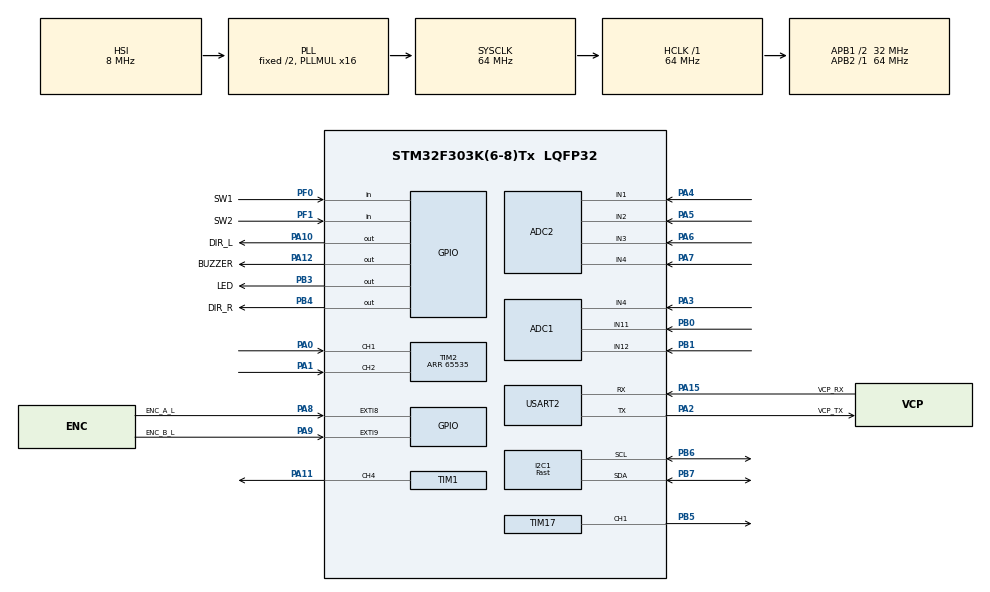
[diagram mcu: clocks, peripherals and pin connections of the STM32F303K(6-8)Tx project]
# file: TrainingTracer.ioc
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ADC1.Channel-3\#ChannelRegularConversion=ADC_CHANNEL_4
ADC1.Channel-4\#ChannelRegularConversion=ADC_CHANNEL_11
ADC1.Channel-5\#ChannelRegularConversion=ADC_CHANNEL_12
ADC1.ContinuousConvMode=DISABLE
ADC1.DMAContinuousRequests=ENABLE
ADC1.DiscontinuousConvMode=ENABLE
ADC1.ExternalTrigConv=ADC_EXTERNALTRIGCONV_T3_TRGO
ADC1.NbrOfConversion=3
ADC1.NbrOfConversionFlag=1
ADC1.NbrOfDiscConversion=3
ADC1.Offset-3\#ChannelRegularConversion=0
ADC1.Offset-4\#ChannelRegularConversion=0
ADC1.Offset-5\#ChannelRegularConversion=0
ADC1.OffsetNumber-3\#ChannelRegularConversion=ADC_OFFSET_NONE
ADC1.OffsetNumber-4\#ChannelRegularConversion=ADC_OFFSET_NONE
ADC1.OffsetNumber-5\#ChannelRegularConversion=ADC_OFFSET_NONE
ADC1.Rank-3\#ChannelRegularConversion=1
ADC1.Rank-4\#ChannelRegularConversion=2
ADC1.Rank-5\#ChannelRegularConversion=3
ADC1.SamplingTime-3\#ChannelRegularConversion=ADC_SAMPLETIME_4CYCLES_5
ADC1.SamplingTime-4\#ChannelRegularConversion=ADC_SAMPLETIME_4CYCLES_5
ADC1.SamplingTime-5\#ChannelRegularConversion=ADC_SAMPLETIME_4CYCLES_5
ADC1.SubFamily=STM32F303x8
ADC1.master=1
ADC2.Channel-3\#ChannelRegularConversion=ADC_CHANNEL_1
ADC2.Channel-4\#ChannelRegularConversion=ADC_CHANNEL_2
ADC2.Channel-5\#ChannelRegularConversion=ADC_CHANNEL_3
ADC2.Channel-6\#ChannelRegularConversion=ADC_CHANNEL_4
ADC2.ContinuousConvMode=DISABLE
ADC2.DMAContinuousRequests=ENABLE
ADC2.DiscontinuousConvMode=ENABLE
ADC2.ExternalTrigConv=ADC_EXTERNALTRIGCONV_T3_TRGO
ADC2.NbrOfConversion=4
ADC2.NbrOfConversionFlag=1
ADC2.NbrOfDiscConversion=4
ADC2.Offset-3\#ChannelRegularConversion=0
ADC2.Offset-4\#ChannelRegularConversion=0
ADC2.Offset-5\#ChannelRegularConversion=0
ADC2.Offset-6\#ChannelRegularConversion=0
ADC2.OffsetNumber-3\#ChannelRegularConversion=ADC_OFFSET_NONE
ADC2.OffsetNumber-4\#ChannelRegularConversion=ADC_OFFSET_NONE
ADC2.OffsetNumber-5\#ChannelRegularConversion=ADC_OFFSET_NONE
ADC2.OffsetNumber-6\#ChannelRegularConversion=ADC_OFFSET_NONE
ADC2.Rank-3\#ChannelRegularConversion=1
ADC2.Rank-4\#ChannelRegularConversion=2
ADC2.Rank-5\#ChannelRegularConversion=3
ADC2.Rank-6\#ChannelRegularConversion=4
ADC2.SamplingTime-3\#ChannelRegularConversion=ADC_SAMPLETIME_4CYCLES_5
ADC2.SamplingTime-4\#ChannelRegularConversion=ADC_SAMPLETIME_4CYCLES_5
ADC2.SamplingTime-5\#ChannelRegularConversion=ADC_SAMPLETIME_4CYCLES_5
ADC2.SamplingTime-6\#ChannelRegularConversion=ADC_SAMPLETIME_4CYCLES_5
ADC2.SubFamily=STM32F303x8
Dma.ADC1.0.Direction=DMA_PERIPH_TO_MEMORY
Dma.ADC1.0.Instance=DMA1_Channel1
Dma.ADC1.0.MemDataAlignment=DMA_MDATAALIGN_HALFWORD
Dma.ADC1.0.MemInc=DMA_MINC_ENABLE
Dma.ADC1.0.Mode=DMA_CIRCULAR
Dma.ADC1.0.PeriphDataAlignment=DMA_PDATAALIGN_HALFWORD
Dma.ADC1.0.PeriphInc=DMA_PINC_DISABLE
Dma.ADC1.0.Priority=DMA_PRIORITY_LOW
Dma.ADC2.1.Direction=DMA_PERIPH_TO_MEMORY
Dma.ADC2.1.Instance=DMA1_Channel2
Dma.ADC2.1.MemDataAlignment=DMA_MDATAALIGN_HALFWORD
Dma.ADC2.1.MemInc=DMA_MINC_ENABLE
Dma.ADC2.1.Mode=DMA_CIRCULAR
Dma.ADC2.1.PeriphDataAlignment=DMA_PDATAALIGN_HALFWORD
Dma.ADC2.1.PeriphInc=DMA_PINC_DISABLE
Dma.ADC2.1.Priority=DMA_PRIORITY_LOW
Dma.I2C1_RX.2.Direction=DMA_PERIPH_TO_MEMORY
Dma.I2C1_RX.2.Instance=DMA1_Channel3
Dma.I2C1_RX.2.MemDataAlignment=DMA_MDATAALIGN_BYTE
Dma.I2C1_RX.2.MemInc=DMA_MINC_ENABLE
Dma.I2C1_RX.2.Mode=DMA_NORMAL
Dma.I2C1_RX.2.PeriphDataAlignment=DMA_PDATAALIGN_BYTE
Dma.I2C1_RX.2.PeriphInc=DMA_PINC_DISABLE
Dma.I2C1_RX.2.Priority=DMA_PRIORITY_LOW
Dma.I2C1_TX.3.Direction=DMA_MEMORY_TO_PERIPH
Dma.I2C1_TX.3.Instance=DMA1_Channel4
Dma.I2C1_TX.3.MemDataAlignment=DMA_MDATAALIGN_BYTE
Dma.I2C1_TX.3.MemInc=DMA_MINC_ENABLE
Dma.I2C1_TX.3.Mode=DMA_NORMAL
Dma.I2C1_TX.3.PeriphDataAlignment=DMA_PDATAALIGN_BYTE
Dma.I2C1_TX.3.PeriphInc=DMA_PINC_DISABLE
Dma.I2C1_TX.3.Priority=DMA_PRIORITY_LOW
Dma.Request0=ADC1
Dma.Request1=ADC2
Dma.Request2=I2C1_RX
Dma.Request3=I2C1_TX
I2C1.Analog_Filter=I2C_ANALOGFILTER_ENABLE
I2C1.I2C_Speed_Mode=I2C_Fast
I2C1.Speed=400
I2C1.Timing=0x0000020B
Mcu.Family=STM32F3
Mcu.Name=STM32F303K(6-8)Tx
Mcu.Package=LQFP32
NVIC.DMA1_Channel1_IRQn=true\:0\:0\:false\:false\:true\:false\:true
NVIC.DMA1_Channel2_IRQn=true\:0\:0\:false\:false\:true\:false\:true
NVIC.DMA1_Channel3_IRQn=true\:0\:0\:false\:false\:true\:false\:true
NVIC.DMA1_Channel4_IRQn=true\:0\:0\:false\:false\:true\:false\:true
NVIC.EXTI9_5_IRQn=true\:0\:0\:false\:false\:true\:true\:true
NVIC.I2C1_EV_IRQn=true\:0\:0\:false\:false\:true\:true\:true
NVIC.PriorityGroup=NVIC_PRIORITYGROUP_4
NVIC.TIM6_DAC1_IRQn=true\:0\:0\:false\:false\:true\:true\:true
NVIC.TIM7_DAC2_IRQn=true\:0\:0\:false\:false\:true\:true\:true
PA0.Signal=S_TIM2_CH1_ETR
PA1.Signal=S_TIM2_CH2
PA10.GPIO_Label=DIR_L
PA10.Signal=GPIO_Output
PA11.Signal=S_TIM1_CH4
PA12.GPIO_Label=BUZZER
PA12.Signal=GPIO_Output
PA13.GPIO_Label=SWDIO
PA13.Mode=Serial_Wire
PA13.Signal=SYS_JTMS-SWDIO
PA14.GPIO_Label=SWCLK
PA14.Mode=Serial_Wire
PA14.Signal=SYS_JTCK-SWCLK
PA15.GPIO_Label=VCP_RX
PA15.Mode=Asynchronous
PA15.Signal=USART2_RX
PA2.GPIO_Label=VCP_TX
PA2.Mode=Asynchronous
PA2.Signal=USART2_TX
PA3.Mode=IN4-Single-Ended
PA3.Signal=ADC1_IN4
PA4.Mode=IN1-Single-Ended
PA4.Signal=ADC2_IN1
PA5.Mode=IN2-Single-Ended
PA5.Signal=ADC2_IN2
PA6.Mode=IN3-Single-Ended
PA6.Signal=ADC2_IN3
PA7.Mode=IN4-Single-Ended
PA7.Signal=ADC2_IN4
PA8.GPIO_Label=ENC_A_L
PA8.GPIO_ModeDefaultEXTI=GPIO_MODE_IT_RISING_FALLING
PA8.Signal=GPXTI8
PA9.GPIO_Label=ENC_B_L
PA9.GPIO_ModeDefaultEXTI=GPIO_MODE_IT_RISING_FALLING
PA9.Signal=GPXTI9
PB0.Mode=IN11-Single-Ended
PB0.Signal=ADC1_IN11
PB1.Mode=IN12-Single-Ended
PB1.Signal=ADC1_IN12
PB3.GPIO_Label=LED
PB3.Signal=GPIO_Output
PB4.GPIO_Label=DIR_R
PB4.Signal=GPIO_Output
PB5.Signal=S_TIM17_CH1
PB6.GPIO_PuPdOD=GPIO_PULLUP
PB6.Mode=I2C
PB6.Signal=I2C1_SCL
PB7.GPIO_PuPdOD=GPIO_PULLUP
PB7.Mode=I2C
PB7.Signal=I2C1_SDA
PF0\ /\ OSC_IN.GPIO_Label=SW1
PF0\ /\ OSC_IN.GPIO_PuPd=GPIO_PULLUP
PF0\ /\ OSC_IN.Signal=GPIO_Input
PF1\ /\ OSC_OUT.GPIO_Label=SW2
PF1\ /\ OSC_OUT.GPIO_PuPd=GPIO_PULLUP
PF1\ /\ OSC_OUT.Signal=GPIO_Input
ProjectManager.HeapSize=0x200
ProjectManager.StackSize=0x400
ProjectManager.TargetToolchain=STM32CubeIDE
RCC.AHBFreq_Value=64000000
RCC.APB1CLKDivider=RCC_HCLK_DIV2
RCC.APB1Freq_Value=32000000
RCC.APB1TimFreq_Value=64000000
RCC.APB2Freq_Value=64000000
RCC.APB2TimFreq_Value=64000000
RCC.CortexFreq_Value=64000000
RCC.HCLKFreq_Value=64000000
RCC.HSE_VALUE=8000000
RCC.HSI_VALUE=8000000
RCC.PLLMUL=RCC_PLL_MUL16
RCC.SYSCLKFreq_VALUE=64000000
RCC.SYSCLKSourceVirtual=RCC_SYSCLKSOURCE_PLLCLK
SH.S_TIM17_CH1.0=TIM17_CH1,PWM Generation1 CH1
SH.S_TIM1_CH4.0=TIM1_CH4,PWM Generation4 CH4
SH.S_TIM2_CH1_ETR.0=TIM2_CH1,Encoder_Interface
SH.S_TIM2_CH2.0=TIM2_CH2,Encoder_Interface
TIM1.AutoReloadPreload=TIM_AUTORELOAD_PRELOAD_ENABLE
TIM1.Channel-PWM\ Generation4\ CH4=TIM_CHANNEL_4
TIM1.Period=3199
TIM1.Prescaler=0
TIM1.Pulse-PWM\ Generation4\ CH4=599
TIM17.AutoReloadPreload=TIM_AUTORELOAD_PRELOAD_ENABLE
TIM17.Channel=TIM_CHANNEL_1
TIM17.Period=3199
TIM17.Prescaler=0
TIM17.Pulse=599
TIM2.AutoReloadPreload=TIM_AUTORELOAD_PRELOAD_ENABLE
TIM2.EncoderMode=TIM_ENCODERMODE_TI12
TIM2.Period=65535
TIM3.AutoReloadPreload=TIM_AUTORELOAD_PRELOAD_ENABLE
TIM3.Period=999
TIM3.Prescaler=63
TIM3.TIM_MasterOutputTrigger=TIM_TRGO_UPDATE
TIM6.AutoReloadPreload=TIM_AUTORELOAD_PRELOAD_ENABLE
TIM6.Period=499
TIM6.Prescaler=63
TIM7.AutoReloadPreload=TIM_AUTORELOAD_PRELOAD_ENABLE
TIM7.Period=9999
TIM7.Prescaler=63
USART2.VirtualMode-Asynchronous=VM_ASYNC
VP_TIM17_VS_ClockSourceINT.Mode=Enable_Timer
VP_TIM3_VS_ClockSourceINT.Mode=Internal
VP_TIM6_VS_ClockSourceINT.Mode=Enable_Timer
VP_TIM7_VS_ClockSourceINT.Mode=Enable_Timer
board=NUCLEO-F303K8

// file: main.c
/* USER CODE BEGIN Header */
/**
  ******************************************************************************
  * @file           : main.c
  * @brief          : Main program body
  ******************************************************************************
  * @attention
  *
  * Copyright (c) 2020 RT Corporation
  * License: Apache License, Version 2.0
  * https://www.apache.org/licenses/LICENSE-2.0
  *
  * This file is licensed the Apache License, Version 2.0.
  * This file is based on the auto generated template .c file
  * released by STMicroelectronics licensed under the BSD 3-Clause License.
  *
  *=*=*=*=*=*=*=*=*=*=*=*=*=*=*=*=*=*=*=*=*=*=*=*=*=*=*=*=*=*=*=*=*=*=*=*=*=*=*
  * <h2><center>&copy; Copyright (c) 2020 STMicroelectronics.
  * All rights reserved.</center></h2>
  *
  * This software component is licensed by ST under BSD 3-Clause license,
  * the "License"; You may not use this file except in compliance with the
  * License. You may obtain a copy of the License at:
  *                        opensource.org/licenses/BSD-3-Clause
  *=*=*=*=*=*=*=*=*=*=*=*=*=*=*=*=*=*=*=*=*=*=*=*=*=*=*=*=*=*=*=*=*=*=*=*=*=*=*
  *
  ******************************************************************************
  */
/* USER CODE END Header */

#include "main.h"

/* USER CODE BEGIN Includes */
#include "stdio.h"
#include "BMX055.h"
#include "stdlib.h"
/* USER CODE END Includes */

ADC_HandleTypeDef hadc1;
ADC_HandleTypeDef hadc2;
DMA_HandleTypeDef hdma_adc1;
DMA_HandleTypeDef hdma_adc2;

I2C_HandleTypeDef hi2c1;
DMA_HandleTypeDef hdma_i2c1_rx;
DMA_HandleTypeDef hdma_i2c1_tx;

TIM_HandleTypeDef htim1;
TIM_HandleTypeDef htim2;
TIM_HandleTypeDef htim3;
TIM_HandleTypeDef htim6;
TIM_HandleTypeDef htim7;
TIM_HandleTypeDef htim17;

UART_HandleTypeDef huart2;

void SystemClock_Config(void);
static void MX_GPIO_Init(void);
static void MX_DMA_Init(void);
static void MX_USART2_UART_Init(void);
static void MX_I2C1_Init(void);
static void MX_TIM1_Init(void);
static void MX_TIM2_Init(void);
static void MX_TIM17_Init(void);
static void MX_ADC1_Init(void);
static void MX_ADC2_Init(void);
static void MX_TIM3_Init(void);
static void MX_TIM6_Init(void);
static void MX_TIM7_Init(void);

/* USER CODE BEGIN 0 */
// 変数宣言
long  Line_Controll;
short inside_offset = 0;
short outside_offset = 0;
short L2_Value = 0;
short L1_Value = 0;
short R1_Value = 0;
short R2_Value = 0;
short ML_Value = 0;
short MR_Value = 0;
short PW_Value = 0;

char line_State = 0;
unsigned short Encoder_R_CNT = 0;
unsigned short Encoder_L_CNT = 0;

char CW_R = 0 ;
char CCW_R = 1 ;
char CW_L = 1 ;
char CCW_L = 0 ;
short PWM_R_Value = 0;
short PWM_L_Value = 0;

unsigned char I2C_state=0;
short ADC1_DATA[10];
short ADC2_DATA[10];
short zGyro=0;
float theta=0;

short BUZZER_IT_CNT;
short BUZZER_IT_H_MS_CNT;
short BUZZER_IT_L_MS_CNT;
short BUZZER_IT_H_MS;
short BUZZER_IT_L_MS;

int __io_putchar(int ch){
	HAL_UART_Transmit(&huart2, (uint8_t *)&ch, 1, 0xFFFF);
	  return ch;
}

void LED_DRIVE(char times, int high_ms, int low_ms) {
	  for (char i = 0; i < times; i++) {
		HAL_GPIO_WritePin(LED_GPIO_Port,LED_Pin,1);
	    HAL_Delay(high_ms);
		HAL_GPIO_WritePin(LED_GPIO_Port,LED_Pin,0);
	    HAL_Delay(low_ms);
	  }
}

void BUZZER_DRIVE(char times, int high_ms, int low_ms) {
  for (char i = 0; i < times; i++) {
	HAL_GPIO_WritePin(BUZZER_GPIO_Port,BUZZER_Pin, 1);   // ブザー鳴らす
    HAL_Delay(100);                       // 指定時間待ち
    HAL_GPIO_WritePin(BUZZER_GPIO_Port,BUZZER_Pin, 0);    // ブザー止める
    HAL_Delay(100);                       // 指定時間待ち
  }
}

void BUZZER_DRIVE_IT(char times, int high_ms, int low_ms) {
	BUZZER_IT_CNT = times;
	BUZZER_IT_H_MS = high_ms;
	BUZZER_IT_L_MS = low_ms;
	BUZZER_IT_H_MS_CNT=0;
	BUZZER_IT_L_MS_CNT=0;
}

int MarkerCheck(void) {
  if ((MR_Value > (R2_Value*0.169+2.7488+30))  && (MR_Value > 90)) { //マーカーセンサアクティブ
    if (line_State == 0) {
      line_State = 1;
      return 1;
    } else if (line_State == 1) {
      line_State = 2;
      return 2;
    } else if (line_State == 3) {
      line_State = 7;
      return 7;
    } else if (line_State == 4) {
      line_State = 6;
      return 6;
    } else if (line_State == 5) {
      line_State = 6;
      return 6;
    } else if(line_State == 6){
      line_State = 6;
      return 6;
    }
  }

  if (line_State == 1) {
    line_State = 3;
    return 3;
  }

  if (line_State == 2) {
    line_State = 3;
    return 3;
  }

  if (line_State == 6) {
    line_State = 3;
    return 3;
  }

  if (line_State == 3) {
    if ((R2_Value + R1_Value + L1_Value + L2_Value) > 2500) { //クロスライン
      line_State = 4; //クロスラインを検出
      HAL_GPIO_WritePin(LED_GPIO_Port,LED_Pin,1);
      return 4;
    }
  }
  if (line_State == 4) {
    if ((R2_Value + R1_Value + L1_Value + L2_Value) < 2000) {
      line_State = 5;
      HAL_GPIO_WritePin(LED_GPIO_Port,LED_Pin,0);
      return 5;
    }
  }

  return line_State;
}

void HAL_GPIO_EXTI_Callback(uint16_t GPIO_Pin){
	if(GPIO_Pin==GPIO_PIN_8){
		if(HAL_GPIO_ReadPin(ENC_A_L_GPIO_Port,ENC_A_L_Pin)==1){
			if(HAL_GPIO_ReadPin(ENC_B_L_GPIO_Port,ENC_A_L_Pin)==1){
				Encoder_L_CNT++;
			}else{
				Encoder_L_CNT--;
			}
		}else{
			if(HAL_GPIO_ReadPin(ENC_B_L_GPIO_Port,ENC_A_L_Pin)==0){
				Encoder_L_CNT++;
			}else{
				Encoder_L_CNT--;
			}
		}
	}
	if(GPIO_Pin==GPIO_PIN_9){
		if(HAL_GPIO_ReadPin(ENC_B_L_GPIO_Port,ENC_B_L_Pin)==1){
			if(HAL_GPIO_ReadPin(ENC_A_L_GPIO_Port,ENC_A_L_Pin)==0){
				Encoder_L_CNT++;
			}else{
				Encoder_L_CNT--;
			}
		}else{
			if(HAL_GPIO_ReadPin(ENC_A_L_GPIO_Port,ENC_A_L_Pin)==1){
				Encoder_L_CNT++;
			}else{
				Encoder_L_CNT--;
			}
		}
	}
}

void HAL_TIM_PeriodElapsedCallback(TIM_HandleTypeDef *htim){
	if(htim == &htim6){//2kHz
		if((I2C_state%2)==0){
			zGyro=I2C1_BMX055_GetGyro16();
			theta = theta + (float)zGyro/1000.0/16.4;
			I2C1_BMX055_zGyro();
		}else{
			I2C1_Read_NBytes(BMX055_Addr_Gyro,2);
//ブザーの処理
			if(BUZZER_IT_CNT > 0){
				if(BUZZER_IT_H_MS_CNT < BUZZER_IT_H_MS){
					HAL_GPIO_WritePin(BUZZER_GPIO_Port,BUZZER_Pin, 1);
					BUZZER_IT_H_MS_CNT++;
				}else if(BUZZER_IT_L_MS_CNT < BUZZER_IT_L_MS){
					HAL_GPIO_WritePin(BUZZER_GPIO_Port,BUZZER_Pin, 0);
					BUZZER_IT_L_MS_CNT++;
				}else{
					BUZZER_IT_H_MS_CNT=0;
					BUZZER_IT_L_MS_CNT=0;
					BUZZER_IT_CNT--;
				}
			}

		}
		I2C_state++;
	}
	if(htim == &htim7){//100Hz
//PA3 ADC1_IN4  LR2
//PA4 ADC2_IN1  LR1
//PA5 ADC2_IN2  LL1
//PA6 ADC2_IN3  LL2
//PA7 ADC2_IN4  POWER
//PB0 ADC1_IN11 マーカーR
//PB1 ADC1_IN12 マーカーL
		R2_Value = ADC1_DATA[0];
		MR_Value = ADC1_DATA[1];
		ML_Value = ADC1_DATA[2];
		R1_Value = ADC2_DATA[0];
		L1_Value = ADC2_DATA[1];
		L2_Value = ADC2_DATA[2];
		PW_Value = ADC2_DATA[3];

		MarkerCheck();
		if(line_State == 1){
//			BUZZER_DRIVE_IT(1,50,50);
		}else if(line_State == 7){
//			BUZZER_DRIVE_IT(2,50,50);
//			RUN_STOP();
		}
		  Line_Controll = (L1_Value - R1_Value - inside_offset) + 2 * (L2_Value - R2_Value - outside_offset);

		  PWM_L_Value = 800 -  Line_Controll / 40;
		  PWM_R_Value = 800 +  Line_Controll / 40;

		  //左モーターPWM出力
		  if (PWM_L_Value < 0) {
			  HAL_GPIO_WritePin(DIR_L_GPIO_Port,DIR_L_Pin,CCW_L);//CCW
		  } else {
			  HAL_GPIO_WritePin(DIR_L_GPIO_Port,DIR_L_Pin,CW_L);//CW
		  }
		  PWM_L_Value = abs(PWM_L_Value);
		  if (PWM_L_Value > 3199) {
		    PWM_L_Value = 3199; //モーター制御値上下ガード処理
		  }
		  if (PWM_L_Value <= 0) {
		    PWM_L_Value = 0; //モーター制御値上下ガード処理
		  }
		  TIM1->CCR4 = PWM_L_Value;

		  //右モーターPWM出力
		  if (PWM_R_Value < 0) {
			  HAL_GPIO_WritePin(DIR_R_GPIO_Port,DIR_R_Pin,CCW_R);//CCW
		  } else {
			  HAL_GPIO_WritePin(DIR_R_GPIO_Port,DIR_R_Pin,CW_R);//CW
		  }
		  PWM_R_Value = abs(PWM_R_Value);
		  if (PWM_R_Value > 3199) {
		    PWM_R_Value = 3199; //モーター制御値上下ガード処理
		  }
		  if (PWM_R_Value <= 0) {
		    PWM_R_Value = 0; //モーター制御値上下ガード処理
		  }
		  TIM17->CCR1 = PWM_R_Value;
	}
}

/* USER CODE END 0 */

int main(void)
{

  /* MCU Configuration--------------------------------------------------------*/

  /* Reset of all peripherals, Initializes the Flash interface and the Systick. */
  HAL_Init();

  /* Configure the system clock */
  SystemClock_Config();

  /* Initialize all configured peripherals */
  MX_GPIO_Init();
  MX_DMA_Init();
  MX_USART2_UART_Init();
  MX_I2C1_Init();
  MX_TIM1_Init();
  MX_TIM2_Init();
  MX_TIM17_Init();
  MX_ADC1_Init();
  MX_ADC2_Init();
  MX_TIM3_Init();
  MX_TIM6_Init();
  MX_TIM7_Init();
  /* USER CODE BEGIN 2 */

//ADC開始
  HAL_ADC_Start_DMA(&hadc1,(uint32_t *)ADC1_DATA,3);
  HAL_ADC_Start_DMA(&hadc2,(uint32_t *)ADC2_DATA,4);
  HAL_TIM_Base_Start(&htim3);//1kHz
//Encoder開始
//  HAL_TIM_Encoder_Start(&htim1,TIM_CHANNEL_ALL);
  HAL_TIM_Encoder_Start(&htim2,TIM_CHANNEL_ALL);

//BMX055
  I2C1_BMX055_Init();
  HAL_TIM_Base_Start_IT(&htim6);//2kHz

//PWM
  HAL_GPIO_WritePin(DIR_R_GPIO_Port,DIR_R_Pin,CW_R);//CW
  HAL_GPIO_WritePin(DIR_L_GPIO_Port,DIR_L_Pin,CW_L);//CW

  TIM1->CCR4 = 0;//PWM duty 0%
  TIM17->CCR1 = 0;//PWM duty 0%
  HAL_TIM_PWM_Start(&htim1,TIM_CHANNEL_4);//左
  HAL_TIM_PWM_Start(&htim17,TIM_CHANNEL_1);//右

 //変数の初期化
  BUZZER_IT_CNT=0;
  Encoder_L_CNT=0;
  TIM2->CNT=0;

    LED_DRIVE(2, 100, 100);

    int i=0;

    while(1){
    	if(HAL_GPIO_ReadPin(SW2_GPIO_Port,SW2_Pin)==0){
    		BUZZER_DRIVE_IT(1,100,100);
    		while(1){
    			  printf("%d Hello World!!\r\n",i++);
    			  printf("ADC1 %d %d %d\n\r",ADC1_DATA[0],ADC1_DATA[1],ADC1_DATA[2]);
    			  printf("ADC2 %d %d %d %d\n\r",ADC2_DATA[0],ADC2_DATA[1],ADC2_DATA[2],ADC2_DATA[3]);
    			  printf("Encoder %d %ld\n\r",Encoder_L_CNT,TIM2->CNT);//左、右
    			  printf("theta=%d %d\n\r",(int)(theta*100),zGyro);
    			  HAL_Delay(300);
    			  if(HAL_GPIO_ReadPin(SW2_GPIO_Port,SW2_Pin)==0){
    				  HAL_Delay(200);
    				  break;
    			  }
    		}
    	}
    	if(HAL_GPIO_ReadPin(SW1_GPIO_Port,SW1_Pin)==0){
    		BUZZER_DRIVE(2,70,70);
    		//制御周期の割り込み
    		HAL_TIM_Base_Start_IT(&htim7);//100Hz
    		break;
    	}
    }
  /* USER CODE END 2 */

  /* Infinite loop */
  /* USER CODE BEGIN WHILE */
  while (1)
  {
//	  HAL_GPIO_TogglePin(LED_GPIO_Port,LED_Pin);
    /* USER CODE END WHILE */

  }
}

void SystemClock_Config(void)
{
  RCC_OscInitTypeDef RCC_OscInitStruct = {0};
  RCC_ClkInitTypeDef RCC_ClkInitStruct = {0};
  RCC_PeriphCLKInitTypeDef PeriphClkInit = {0};

  /** Initializes the CPU, AHB and APB busses clocks
  */
  RCC_OscInitStruct.OscillatorType = RCC_OSCILLATORTYPE_HSI;
  RCC_OscInitStruct.HSIState = RCC_HSI_ON;
  RCC_OscInitStruct.HSICalibrationValue = RCC_HSICALIBRATION_DEFAULT;
  RCC_OscInitStruct.PLL.PLLState = RCC_PLL_ON;
  RCC_OscInitStruct.PLL.PLLSource = RCC_PLLSOURCE_HSI;
  RCC_OscInitStruct.PLL.PLLMUL = RCC_PLL_MUL16;
  if (HAL_RCC_OscConfig(&RCC_OscInitStruct) != HAL_OK)
  {
    Error_Handler();
  }
  /** Initializes the CPU, AHB and APB busses clocks
  */
  RCC_ClkInitStruct.ClockType = RCC_CLOCKTYPE_HCLK|RCC_CLOCKTYPE_SYSCLK
                              |RCC_CLOCKTYPE_PCLK1|RCC_CLOCKTYPE_PCLK2;
  RCC_ClkInitStruct.SYSCLKSource = RCC_SYSCLKSOURCE_PLLCLK;
  RCC_ClkInitStruct.AHBCLKDivider = RCC_SYSCLK_DIV1;
  RCC_ClkInitStruct.APB1CLKDivider = RCC_HCLK_DIV2;
  RCC_ClkInitStruct.APB2CLKDivider = RCC_HCLK_DIV1;

  if (HAL_RCC_ClockConfig(&RCC_ClkInitStruct, FLASH_LATENCY_2) != HAL_OK)
  {
    Error_Handler();
  }
  PeriphClkInit.PeriphClockSelection = RCC_PERIPHCLK_I2C1|RCC_PERIPHCLK_TIM1
                              |RCC_PERIPHCLK_ADC12;
  PeriphClkInit.Adc12ClockSelection = RCC_ADC12PLLCLK_DIV1;
  PeriphClkInit.I2c1ClockSelection = RCC_I2C1CLKSOURCE_HSI;
  PeriphClkInit.Tim1ClockSelection = RCC_TIM1CLK_HCLK;
  if (HAL_RCCEx_PeriphCLKConfig(&PeriphClkInit) != HAL_OK)
  {
    Error_Handler();
  }
}

static void MX_ADC1_Init(void)
{

  ADC_MultiModeTypeDef multimode = {0};
  ADC_ChannelConfTypeDef sConfig = {0};

  /** Common config
  */
  hadc1.Instance = ADC1;
  hadc1.Init.ClockPrescaler = ADC_CLOCK_ASYNC_DIV1;
  hadc1.Init.Resolution = ADC_RESOLUTION_12B;
  hadc1.Init.ScanConvMode = ADC_SCAN_ENABLE;
  hadc1.Init.ContinuousConvMode = DISABLE;
  hadc1.Init.DiscontinuousConvMode = ENABLE;
  hadc1.Init.NbrOfDiscConversion = 3;
  hadc1.Init.ExternalTrigConvEdge = ADC_EXTERNALTRIGCONVEDGE_RISING;
  hadc1.Init.ExternalTrigConv = ADC_EXTERNALTRIGCONV_T3_TRGO;
  hadc1.Init.DataAlign = ADC_DATAALIGN_RIGHT;
  hadc1.Init.NbrOfConversion = 3;
  hadc1.Init.DMAContinuousRequests = ENABLE;
  hadc1.Init.EOCSelection = ADC_EOC_SINGLE_CONV;
  hadc1.Init.LowPowerAutoWait = DISABLE;
  hadc1.Init.Overrun = ADC_OVR_DATA_OVERWRITTEN;
  if (HAL_ADC_Init(&hadc1) != HAL_OK)
  {
    Error_Handler();
  }
  /** Configure the ADC multi-mode
  */
  multimode.Mode = ADC_MODE_INDEPENDENT;
  if (HAL_ADCEx_MultiModeConfigChannel(&hadc1, &multimode) != HAL_OK)
  {
    Error_Handler();
  }
  /** Configure Regular Channel
  */
  sConfig.Channel = ADC_CHANNEL_4;
  sConfig.Rank = ADC_REGULAR_RANK_1;
  sConfig.SingleDiff = ADC_SINGLE_ENDED;
  sConfig.SamplingTime = ADC_SAMPLETIME_4CYCLES_5;
  sConfig.OffsetNumber = ADC_OFFSET_NONE;
  sConfig.Offset = 0;
  if (HAL_ADC_ConfigChannel(&hadc1, &sConfig) != HAL_OK)
  {
    Error_Handler();
  }
  /** Configure Regular Channel
  */
  sConfig.Channel = ADC_CHANNEL_11;
  sConfig.Rank = ADC_REGULAR_RANK_2;
  if (HAL_ADC_ConfigChannel(&hadc1, &sConfig) != HAL_OK)
  {
    Error_Handler();
  }
  /** Configure Regular Channel
  */
  sConfig.Channel = ADC_CHANNEL_12;
  sConfig.Rank = ADC_REGULAR_RANK_3;
  if (HAL_ADC_ConfigChannel(&hadc1, &sConfig) != HAL_OK)
  {
    Error_Handler();
  }

}

static void MX_ADC2_Init(void)
{

  ADC_ChannelConfTypeDef sConfig = {0};

  /** Common config
  */
  hadc2.Instance = ADC2;
  hadc2.Init.ClockPrescaler = ADC_CLOCK_ASYNC_DIV1;
  hadc2.Init.Resolution = ADC_RESOLUTION_12B;
  hadc2.Init.ScanConvMode = ADC_SCAN_ENABLE;
  hadc2.Init.ContinuousConvMode = DISABLE;
  hadc2.Init.DiscontinuousConvMode = ENABLE;
  hadc2.Init.NbrOfDiscConversion = 4;
  hadc2.Init.ExternalTrigConvEdge = ADC_EXTERNALTRIGCONVEDGE_RISING;
  hadc2.Init.ExternalTrigConv = ADC_EXTERNALTRIGCONV_T3_TRGO;
  hadc2.Init.DataAlign = ADC_DATAALIGN_RIGHT;
  hadc2.Init.NbrOfConversion = 4;
  hadc2.Init.DMAContinuousRequests = ENABLE;
  hadc2.Init.EOCSelection = ADC_EOC_SINGLE_CONV;
  hadc2.Init.LowPowerAutoWait = DISABLE;
  hadc2.Init.Overrun = ADC_OVR_DATA_OVERWRITTEN;
  if (HAL_ADC_Init(&hadc2) != HAL_OK)
  {
    Error_Handler();
  }
  /** Configure Regular Channel
  */
  sConfig.Channel = ADC_CHANNEL_1;
  sConfig.Rank = ADC_REGULAR_RANK_1;
  sConfig.SingleDiff = ADC_SINGLE_ENDED;
  sConfig.SamplingTime = ADC_SAMPLETIME_4CYCLES_5;
  sConfig.OffsetNumber = ADC_OFFSET_NONE;
  sConfig.Offset = 0;
  if (HAL_ADC_ConfigChannel(&hadc2, &sConfig) != HAL_OK)
  {
    Error_Handler();
  }
  /** Configure Regular Channel
  */
  sConfig.Channel = ADC_CHANNEL_2;
  sConfig.Rank = ADC_REGULAR_RANK_2;
  if (HAL_ADC_ConfigChannel(&hadc2, &sConfig) != HAL_OK)
  {
    Error_Handler();
  }
  /** Configure Regular Channel
  */
  sConfig.Channel = ADC_CHANNEL_3;
  sConfig.Rank = ADC_REGULAR_RANK_3;
  if (HAL_ADC_ConfigChannel(&hadc2, &sConfig) != HAL_OK)
  {
    Error_Handler();
  }
  /** Configure Regular Channel
  */
  sConfig.Channel = ADC_CHANNEL_4;
  sConfig.Rank = ADC_REGULAR_RANK_4;
  if (HAL_ADC_ConfigChannel(&hadc2, &sConfig) != HAL_OK)
  {
    Error_Handler();
  }

}

static void MX_I2C1_Init(void)
{

  hi2c1.Instance = I2C1;
  hi2c1.Init.Timing = 0x0000020B;
  hi2c1.Init.OwnAddress1 = 0;
  hi2c1.Init.AddressingMode = I2C_ADDRESSINGMODE_7BIT;
  hi2c1.Init.DualAddressMode = I2C_DUALADDRESS_DISABLE;
  hi2c1.Init.OwnAddress2 = 0;
  hi2c1.Init.OwnAddress2Masks = I2C_OA2_NOMASK;
  hi2c1.Init.GeneralCallMode = I2C_GENERALCALL_DISABLE;
  hi2c1.Init.NoStretchMode = I2C_NOSTRETCH_DISABLE;
  if (HAL_I2C_Init(&hi2c1) != HAL_OK)
  {
    Error_Handler();
  }
  /** Configure Analogue filter
  */
  if (HAL_I2CEx_ConfigAnalogFilter(&hi2c1, I2C_ANALOGFILTER_ENABLE) != HAL_OK)
  {
    Error_Handler();
  }
  /** Configure Digital filter
  */
  if (HAL_I2CEx_ConfigDigitalFilter(&hi2c1, 0) != HAL_OK)
  {
    Error_Handler();
  }

}

static void MX_TIM1_Init(void)
{

  TIM_MasterConfigTypeDef sMasterConfig = {0};
  TIM_OC_InitTypeDef sConfigOC = {0};
  TIM_BreakDeadTimeConfigTypeDef sBreakDeadTimeConfig = {0};

  htim1.Instance = TIM1;
  htim1.Init.Prescaler = 0;
  htim1.Init.CounterMode = TIM_COUNTERMODE_UP;
  htim1.Init.Period = 3199;
  htim1.Init.ClockDivision = TIM_CLOCKDIVISION_DIV1;
  htim1.Init.RepetitionCounter = 0;
  htim1.Init.AutoReloadPreload = TIM_AUTORELOAD_PRELOAD_ENABLE;
  if (HAL_TIM_PWM_Init(&htim1) != HAL_OK)
  {
    Error_Handler();
  }
  sMasterConfig.MasterOutputTrigger = TIM_TRGO_RESET;
  sMasterConfig.MasterOutputTrigger2 = TIM_TRGO2_RESET;
  sMasterConfig.MasterSlaveMode = TIM_MASTERSLAVEMODE_DISABLE;
  if (HAL_TIMEx_MasterConfigSynchronization(&htim1, &sMasterConfig) != HAL_OK)
  {
    Error_Handler();
  }
  sConfigOC.OCMode = TIM_OCMODE_PWM1;
  sConfigOC.Pulse = 599;
  sConfigOC.OCPolarity = TIM_OCPOLARITY_HIGH;
  sConfigOC.OCFastMode = TIM_OCFAST_DISABLE;
  sConfigOC.OCIdleState = TIM_OCIDLESTATE_RESET;
  sConfigOC.OCNIdleState = TIM_OCNIDLESTATE_RESET;
  if (HAL_TIM_PWM_ConfigChannel(&htim1, &sConfigOC, TIM_CHANNEL_4) != HAL_OK)
  {
    Error_Handler();
  }
  sBreakDeadTimeConfig.OffStateRunMode = TIM_OSSR_DISABLE;
  sBreakDeadTimeConfig.OffStateIDLEMode = TIM_OSSI_DISABLE;
  sBreakDeadTimeConfig.LockLevel = TIM_LOCKLEVEL_OFF;
  sBreakDeadTimeConfig.DeadTime = 0;
  sBreakDeadTimeConfig.BreakState = TIM_BREAK_DISABLE;
  sBreakDeadTimeConfig.BreakPolarity = TIM_BREAKPOLARITY_HIGH;
  sBreakDeadTimeConfig.BreakFilter = 0;
  sBreakDeadTimeConfig.Break2State = TIM_BREAK2_DISABLE;
  sBreakDeadTimeConfig.Break2Polarity = TIM_BREAK2POLARITY_HIGH;
  sBreakDeadTimeConfig.Break2Filter = 0;
  sBreakDeadTimeConfig.AutomaticOutput = TIM_AUTOMATICOUTPUT_DISABLE;
  if (HAL_TIMEx_ConfigBreakDeadTime(&htim1, &sBreakDeadTimeConfig) != HAL_OK)
  {
    Error_Handler();
  }
  HAL_TIM_MspPostInit(&htim1);

}

static void MX_TIM2_Init(void)
{

  TIM_Encoder_InitTypeDef sConfig = {0};
  TIM_MasterConfigTypeDef sMasterConfig = {0};

  htim2.Instance = TIM2;
  htim2.Init.Prescaler = 0;
  htim2.Init.CounterMode = TIM_COUNTERMODE_UP;
  htim2.Init.Period = 65535;
  htim2.Init.ClockDivision = TIM_CLOCKDIVISION_DIV1;
  htim2.Init.AutoReloadPreload = TIM_AUTORELOAD_PRELOAD_ENABLE;
  sConfig.EncoderMode = TIM_ENCODERMODE_TI12;
  sConfig.IC1Polarity = TIM_ICPOLARITY_RISING;
  sConfig.IC1Selection = TIM_ICSELECTION_DIRECTTI;
  sConfig.IC1Prescaler = TIM_ICPSC_DIV1;
  sConfig.IC1Filter = 0;
  sConfig.IC2Polarity = TIM_ICPOLARITY_RISING;
  sConfig.IC2Selection = TIM_ICSELECTION_DIRECTTI;
  sConfig.IC2Prescaler = TIM_ICPSC_DIV1;
  sConfig.IC2Filter = 0;
  if (HAL_TIM_Encoder_Init(&htim2, &sConfig) != HAL_OK)
  {
    Error_Handler();
  }
  sMasterConfig.MasterOutputTrigger = TIM_TRGO_RESET;
  sMasterConfig.MasterSlaveMode = TIM_MASTERSLAVEMODE_DISABLE;
  if (HAL_TIMEx_MasterConfigSynchronization(&htim2, &sMasterConfig) != HAL_OK)
  {
    Error_Handler();
  }

}

static void MX_TIM3_Init(void)
{

  TIM_ClockConfigTypeDef sClockSourceConfig = {0};
  TIM_MasterConfigTypeDef sMasterConfig = {0};

  htim3.Instance = TIM3;
  htim3.Init.Prescaler = 63;
  htim3.Init.CounterMode = TIM_COUNTERMODE_UP;
  htim3.Init.Period = 999;
  htim3.Init.ClockDivision = TIM_CLOCKDIVISION_DIV1;
  htim3.Init.AutoReloadPreload = TIM_AUTORELOAD_PRELOAD_ENABLE;
  if (HAL_TIM_Base_Init(&htim3) != HAL_OK)
  {
    Error_Handler();
  }
  sClockSourceConfig.ClockSource = TIM_CLOCKSOURCE_INTERNAL;
  if (HAL_TIM_ConfigClockSource(&htim3, &sClockSourceConfig) != HAL_OK)
  {
    Error_Handler();
  }
  sMasterConfig.MasterOutputTrigger = TIM_TRGO_UPDATE;
  sMasterConfig.MasterSlaveMode = TIM_MASTERSLAVEMODE_DISABLE;
  if (HAL_TIMEx_MasterConfigSynchronization(&htim3, &sMasterConfig) != HAL_OK)
  {
    Error_Handler();
  }

}

static void MX_TIM6_Init(void)
{

  TIM_MasterConfigTypeDef sMasterConfig = {0};

  htim6.Instance = TIM6;
  htim6.Init.Prescaler = 63;
  htim6.Init.CounterMode = TIM_COUNTERMODE_UP;
  htim6.Init.Period = 499;
  htim6.Init.AutoReloadPreload = TIM_AUTORELOAD_PRELOAD_ENABLE;
  if (HAL_TIM_Base_Init(&htim6) != HAL_OK)
  {
    Error_Handler();
  }
  sMasterConfig.MasterOutputTrigger = TIM_TRGO_RESET;
  sMasterConfig.MasterSlaveMode = TIM_MASTERSLAVEMODE_DISABLE;
  if (HAL_TIMEx_MasterConfigSynchronization(&htim6, &sMasterConfig) != HAL_OK)
  {
    Error_Handler();
  }

}

static void MX_TIM7_Init(void)
{

  TIM_MasterConfigTypeDef sMasterConfig = {0};

  htim7.Instance = TIM7;
  htim7.Init.Prescaler = 63;
  htim7.Init.CounterMode = TIM_COUNTERMODE_UP;
  htim7.Init.Period = 9999;
  htim7.Init.AutoReloadPreload = TIM_AUTORELOAD_PRELOAD_ENABLE;
  if (HAL_TIM_Base_Init(&htim7) != HAL_OK)
  {
    Error_Handler();
  }
  sMasterConfig.MasterOutputTrigger = TIM_TRGO_RESET;
  sMasterConfig.MasterSlaveMode = TIM_MASTERSLAVEMODE_DISABLE;
  if (HAL_TIMEx_MasterConfigSynchronization(&htim7, &sMasterConfig) != HAL_OK)
  {
    Error_Handler();
  }

}

static void MX_TIM17_Init(void)
{

  TIM_OC_InitTypeDef sConfigOC = {0};
  TIM_BreakDeadTimeConfigTypeDef sBreakDeadTimeConfig = {0};

  htim17.Instance = TIM17;
  htim17.Init.Prescaler = 0;
  htim17.Init.CounterMode = TIM_COUNTERMODE_UP;
  htim17.Init.Period = 3199;
  htim17.Init.ClockDivision = TIM_CLOCKDIVISION_DIV1;
  htim17.Init.RepetitionCounter = 0;
  htim17.Init.AutoReloadPreload = TIM_AUTORELOAD_PRELOAD_ENABLE;
  if (HAL_TIM_Base_Init(&htim17) != HAL_OK)
  {
    Error_Handler();
  }
  if (HAL_TIM_PWM_Init(&htim17) != HAL_OK)
  {
    Error_Handler();
  }
  sConfigOC.OCMode = TIM_OCMODE_PWM1;
  sConfigOC.Pulse = 599;
  sConfigOC.OCPolarity = TIM_OCPOLARITY_HIGH;
  sConfigOC.OCNPolarity = TIM_OCNPOLARITY_HIGH;
  sConfigOC.OCFastMode = TIM_OCFAST_DISABLE;
  sConfigOC.OCIdleState = TIM_OCIDLESTATE_RESET;
  sConfigOC.OCNIdleState = TIM_OCNIDLESTATE_RESET;
  if (HAL_TIM_PWM_ConfigChannel(&htim17, &sConfigOC, TIM_CHANNEL_1) != HAL_OK)
  {
    Error_Handler();
  }
  sBreakDeadTimeConfig.OffStateRunMode = TIM_OSSR_DISABLE;
  sBreakDeadTimeConfig.OffStateIDLEMode = TIM_OSSI_DISABLE;
  sBreakDeadTimeConfig.LockLevel = TIM_LOCKLEVEL_OFF;
  sBreakDeadTimeConfig.DeadTime = 0;
  sBreakDeadTimeConfig.BreakState = TIM_BREAK_DISABLE;
  sBreakDeadTimeConfig.BreakPolarity = TIM_BREAKPOLARITY_HIGH;
  sBreakDeadTimeConfig.BreakFilter = 0;
  sBreakDeadTimeConfig.AutomaticOutput = TIM_AUTOMATICOUTPUT_DISABLE;
  if (HAL_TIMEx_ConfigBreakDeadTime(&htim17, &sBreakDeadTimeConfig) != HAL_OK)
  {
    Error_Handler();
  }
  HAL_TIM_MspPostInit(&htim17);

}

static void MX_USART2_UART_Init(void)
{

  huart2.Instance = USART2;
  huart2.Init.BaudRate = 38400;
  huart2.Init.WordLength = UART_WORDLENGTH_8B;
  huart2.Init.StopBits = UART_STOPBITS_1;
  huart2.Init.Parity = UART_PARITY_NONE;
  huart2.Init.Mode = UART_MODE_TX_RX;
  huart2.Init.HwFlowCtl = UART_HWCONTROL_NONE;
  huart2.Init.OverSampling = UART_OVERSAMPLING_16;
  huart2.Init.OneBitSampling = UART_ONE_BIT_SAMPLE_DISABLE;
  huart2.AdvancedInit.AdvFeatureInit = UART_ADVFEATURE_NO_INIT;
  if (HAL_UART_Init(&huart2) != HAL_OK)
  {
    Error_Handler();
  }

}

static void MX_DMA_Init(void)
{

  /* DMA controller clock enable */
  __HAL_RCC_DMA1_CLK_ENABLE();

  /* DMA interrupt init */
  /* DMA1_Channel1_IRQn interrupt configuration */
  HAL_NVIC_SetPriority(DMA1_Channel1_IRQn, 0, 0);
  HAL_NVIC_EnableIRQ(DMA1_Channel1_IRQn);
  /* DMA1_Channel2_IRQn interrupt configuration */
  HAL_NVIC_SetPriority(DMA1_Channel2_IRQn, 0, 0);
  HAL_NVIC_EnableIRQ(DMA1_Channel2_IRQn);
  /* DMA1_Channel3_IRQn interrupt configuration */
  HAL_NVIC_SetPriority(DMA1_Channel3_IRQn, 0, 0);
  HAL_NVIC_EnableIRQ(DMA1_Channel3_IRQn);
  /* DMA1_Channel4_IRQn interrupt configuration */
  HAL_NVIC_SetPriority(DMA1_Channel4_IRQn, 0, 0);
  HAL_NVIC_EnableIRQ(DMA1_Channel4_IRQn);

}

static void MX_GPIO_Init(void)
{
  GPIO_InitTypeDef GPIO_InitStruct = {0};

  /* GPIO Ports Clock Enable */
  __HAL_RCC_GPIOF_CLK_ENABLE();
  __HAL_RCC_GPIOA_CLK_ENABLE();
  __HAL_RCC_GPIOB_CLK_ENABLE();

  /*Configure GPIO pin Output Level */
  HAL_GPIO_WritePin(GPIOA, DIR_L_Pin|BUZZER_Pin, GPIO_PIN_RESET);

  /*Configure GPIO pin Output Level */
  HAL_GPIO_WritePin(GPIOB, LED_Pin|DIR_R_Pin, GPIO_PIN_RESET);

  /*Configure GPIO pins : SW1_Pin SW2_Pin */
  GPIO_InitStruct.Pin = SW1_Pin|SW2_Pin;
  GPIO_InitStruct.Mode = GPIO_MODE_INPUT;
  GPIO_InitStruct.Pull = GPIO_PULLUP;
  HAL_GPIO_Init(GPIOF, &GPIO_InitStruct);

  /*Configure GPIO pins : ENC_A_L_Pin ENC_B_L_Pin */
  GPIO_InitStruct.Pin = ENC_A_L_Pin|ENC_B_L_Pin;
  GPIO_InitStruct.Mode = GPIO_MODE_IT_RISING_FALLING;
  GPIO_InitStruct.Pull = GPIO_NOPULL;
  HAL_GPIO_Init(GPIOA, &GPIO_InitStruct);

  /*Configure GPIO pins : DIR_L_Pin BUZZER_Pin */
  GPIO_InitStruct.Pin = DIR_L_Pin|BUZZER_Pin;
  GPIO_InitStruct.Mode = GPIO_MODE_OUTPUT_PP;
  GPIO_InitStruct.Pull = GPIO_NOPULL;
  GPIO_InitStruct.Speed = GPIO_SPEED_FREQ_LOW;
  HAL_GPIO_Init(GPIOA, &GPIO_InitStruct);

  /*Configure GPIO pins : LED_Pin DIR_R_Pin */
  GPIO_InitStruct.Pin = LED_Pin|DIR_R_Pin;
  GPIO_InitStruct.Mode = GPIO_MODE_OUTPUT_PP;
  GPIO_InitStruct.Pull = GPIO_NOPULL;
  GPIO_InitStruct.Speed = GPIO_SPEED_FREQ_LOW;
  HAL_GPIO_Init(GPIOB, &GPIO_InitStruct);

  /* EXTI interrupt init*/
  HAL_NVIC_SetPriority(EXTI9_5_IRQn, 0, 0);
  HAL_NVIC_EnableIRQ(EXTI9_5_IRQn);

}

void Error_Handler(void)
{
}

/************************ (C) COPYRIGHT STMicroelectronics *****END OF FILE****/
